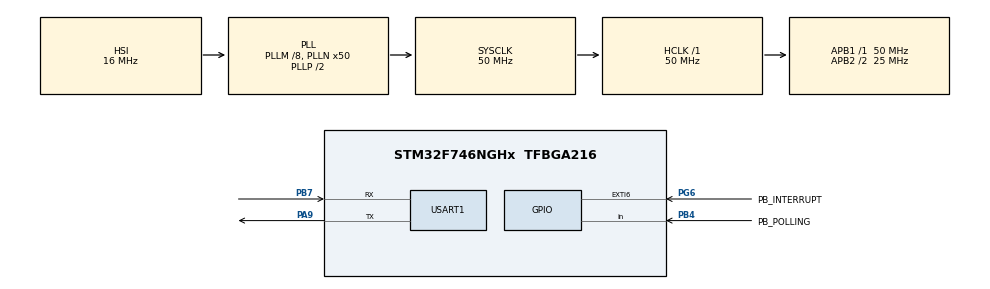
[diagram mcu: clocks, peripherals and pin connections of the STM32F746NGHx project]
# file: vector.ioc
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FREERTOS.Tasks01=defaultTask,0,128,StartDefaultTask,Default,NULL,Dynamic,NULL,NULL;print,-3,128,startPrint,Default,NULL,Dynamic,NULL,NULL;init,3,128,startInit,Default,NULL,Dynamic,NULL,NULL;button,0,128,startButton,Default,NULL,Dynamic,NULL,NULL
Mcu.Family=STM32F7
Mcu.Name=STM32F746NGHx
Mcu.Package=TFBGA216
NVIC.EXTI9_5_IRQn=true\:6\:0\:true\:false\:true\:true\:true\:true
NVIC.PriorityGroup=NVIC_PRIORITYGROUP_4
NVIC.TIM8_TRG_COM_TIM14_IRQn=true\:0\:0\:false\:false\:true\:false\:false\:true
NVIC.TimeBase=TIM8_TRG_COM_TIM14_IRQn
NVIC.TimeBaseIP=TIM14
PA13.Mode=Serial_Wire
PA13.Signal=SYS_JTMS-SWDIO
PA14.Mode=Serial_Wire
PA14.Signal=SYS_JTCK-SWCLK
PA9.Mode=Asynchronous
PA9.Signal=USART1_TX
PB4.GPIO_Label=PB_POLLING
PB4.Signal=GPIO_Input
PB7.Mode=Asynchronous
PB7.Signal=USART1_RX
PC14/OSC32_IN.Mode=LSE-External-Clock-Source
PC14/OSC32_IN.Signal=RCC_OSC32_IN
PC15/OSC32_OUT.Mode=LSE-External-Clock-Source
PC15/OSC32_OUT.Signal=RCC_OSC32_OUT
PG6.GPIO_Label=PB_INTERRUPT
PG6.Signal=GPXTI6
PH0/OSC_IN.Mode=HSE-External-Oscillator
PH0/OSC_IN.Signal=RCC_OSC_IN
PH1/OSC_OUT.Mode=HSE-External-Oscillator
PH1/OSC_OUT.Signal=RCC_OSC_OUT
ProjectManager.HeapSize=0x200
ProjectManager.StackSize=0x400
ProjectManager.TargetToolchain=STM32CubeIDE
RCC.AHBFreq_Value=50000000
RCC.APB1Freq_Value=50000000
RCC.APB1TimFreq_Value=50000000
RCC.APB2CLKDivider=RCC_HCLK_DIV2
RCC.APB2Freq_Value=25000000
RCC.APB2TimFreq_Value=50000000
RCC.CortexFreq_Value=50000000
RCC.HCLKFreq_Value=50000000
RCC.HSE_VALUE=25000000
RCC.HSI_VALUE=16000000
RCC.LSE_VALUE=32768
RCC.PLLM=8
RCC.PLLN=50
RCC.PLLQ=3
RCC.PLLSourceVirtual=RCC_PLLSOURCE_HSI
RCC.SYSCLKFreq_VALUE=50000000
RCC.SYSCLKSource=RCC_SYSCLKSOURCE_PLLCLK
RCC.USBFreq_Value=33333333.333333332
RCC.VCOOutputFreq_Value=100000000
USART1.VirtualMode-Asynchronous=VM_ASYNC
VP_FREERTOS_VS_CMSIS_V1.Mode=CMSIS_V1
VP_RNG_VS_RNG.Mode=RNG_Activate
VP_SYS_VS_tim14.Mode=TIM14
board=STM32F746G-DISCO

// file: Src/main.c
/* USER CODE BEGIN Header */
/**
  ******************************************************************************
  * @file           : main.c
  * @brief          : Main program body
  ******************************************************************************
  * @attention
  *
  * <h2><center>&copy; Copyright (c) 2019 STMicroelectronics.
  * All rights reserved.</center></h2>
  *
  * This software component is licensed by ST under BSD 3-Clause license,
  * the "License"; You may not use this file except in compliance with the
  * License. You may obtain a copy of the License at:
  *                        opensource.org/licenses/BSD-3-Clause
  *
  ******************************************************************************
  */
/* USER CODE END Header */

#include "main.h"
#include "cmsis_os.h"
#include "rng.h"
#include "usart.h"
#include "gpio.h"

/* USER CODE BEGIN Includes */
#include "vector.h"
/* USER CODE END Includes */

void SystemClock_Config(void);
void MX_FREERTOS_Init(void);

int main(void)
{

  /* MCU Configuration--------------------------------------------------------*/

  /* Reset of all peripherals, Initializes the Flash interface and the Systick. */
  HAL_Init();

  /* Configure the system clock */
  SystemClock_Config();

  /* Initialize all configured peripherals */
  MX_GPIO_Init();
  MX_RNG_Init();
  MX_USART1_UART_Init();

  /* Call init function for freertos objects (in freertos.c) */
  MX_FREERTOS_Init();

  /* Start scheduler */
  osKernelStart();

  /* We should never get here as control is now taken by the scheduler */

  /* Infinite loop */
  while (1)
  {

  }
}

void SystemClock_Config(void)
{
  RCC_OscInitTypeDef RCC_OscInitStruct = {0};
  RCC_ClkInitTypeDef RCC_ClkInitStruct = {0};
  RCC_PeriphCLKInitTypeDef PeriphClkInitStruct = {0};

  /** Configure the main internal regulator output voltage
  */
  __HAL_RCC_PWR_CLK_ENABLE();
  __HAL_PWR_VOLTAGESCALING_CONFIG(PWR_REGULATOR_VOLTAGE_SCALE3);
  /** Initializes the CPU, AHB and APB busses clocks
  */
  RCC_OscInitStruct.OscillatorType = RCC_OSCILLATORTYPE_HSI;
  RCC_OscInitStruct.HSIState = RCC_HSI_ON;
  RCC_OscInitStruct.HSICalibrationValue = RCC_HSICALIBRATION_DEFAULT;
  RCC_OscInitStruct.PLL.PLLState = RCC_PLL_ON;
  RCC_OscInitStruct.PLL.PLLSource = RCC_PLLSOURCE_HSI;
  RCC_OscInitStruct.PLL.PLLM = 8;
  RCC_OscInitStruct.PLL.PLLN = 50;
  RCC_OscInitStruct.PLL.PLLP = RCC_PLLP_DIV2;
  RCC_OscInitStruct.PLL.PLLQ = 3;
  if (HAL_RCC_OscConfig(&RCC_OscInitStruct) != HAL_OK)
  {
    Error_Handler();
  }
  /** Activate the Over-Drive mode
  */
  if (HAL_PWREx_EnableOverDrive() != HAL_OK)
  {
    Error_Handler();
  }
  /** Initializes the CPU, AHB and APB busses clocks
  */
  RCC_ClkInitStruct.ClockType = RCC_CLOCKTYPE_HCLK|RCC_CLOCKTYPE_SYSCLK
                              |RCC_CLOCKTYPE_PCLK1|RCC_CLOCKTYPE_PCLK2;
  RCC_ClkInitStruct.SYSCLKSource = RCC_SYSCLKSOURCE_PLLCLK;
  RCC_ClkInitStruct.AHBCLKDivider = RCC_SYSCLK_DIV1;
  RCC_ClkInitStruct.APB1CLKDivider = RCC_HCLK_DIV1;
  RCC_ClkInitStruct.APB2CLKDivider = RCC_HCLK_DIV2;

  if (HAL_RCC_ClockConfig(&RCC_ClkInitStruct, FLASH_LATENCY_1) != HAL_OK)
  {
    Error_Handler();
  }
  PeriphClkInitStruct.PeriphClockSelection = RCC_PERIPHCLK_USART1|RCC_PERIPHCLK_CLK48;
  PeriphClkInitStruct.Usart1ClockSelection = RCC_USART1CLKSOURCE_PCLK2;
  PeriphClkInitStruct.Clk48ClockSelection = RCC_CLK48SOURCE_PLL;
  if (HAL_RCCEx_PeriphCLKConfig(&PeriphClkInitStruct) != HAL_OK)
  {
    Error_Handler();
  }
}

void HAL_TIM_PeriodElapsedCallback(TIM_HandleTypeDef *htim)
{
  if (htim->Instance == TIM14) {
    HAL_IncTick();
  }
}

void Error_Handler(void)
{
}

/************************ (C) COPYRIGHT STMicroelectronics *****END OF FILE****/

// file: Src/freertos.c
/* USER CODE BEGIN Header */
/**
  ******************************************************************************
  * File Name          : freertos.c
  * Description        : Code for freertos applications
  ******************************************************************************
  * @attention
  *
  * <h2><center>&copy; Copyright (c) 2019 STMicroelectronics.
  * All rights reserved.</center></h2>
  *
  * This software component is licensed by ST under Ultimate Liberty license
  * SLA0044, the "License"; You may not use this file except in compliance with
  * the License. You may obtain a copy of the License at:
  *                             www.st.com/SLA0044
  *
  ******************************************************************************
  */
/* USER CODE END Header */

#include "FreeRTOS.h"
#include "task.h"
#include "main.h"
#include "cmsis_os.h"

/* USER CODE BEGIN Includes */
#include "declare.h"
#include "vector.h"
#include <usart.h>
#include "rng.h"
/* USER CODE END Includes */

osThreadId defaultTaskHandle;
osThreadId printHandle;
osThreadId initHandle;
osThreadId buttonHandle;

void StartDefaultTask(void const * argument);
void startPrint(void const * argument);
void startInit(void const * argument);
void startButton(void const * argument);

void MX_FREERTOS_Init(void); /* (MISRA C 2004 rule 8.1) */

void MX_FREERTOS_Init(void) {

  /* Create the thread(s) */
  /* definition and creation of defaultTask */
  osThreadDef(defaultTask, StartDefaultTask, osPriorityNormal, 0, 128);
  defaultTaskHandle = osThreadCreate(osThread(defaultTask), NULL);

  /* definition and creation of print */
  osThreadDef(print, startPrint, osPriorityIdle, 0, 128);
  printHandle = osThreadCreate(osThread(print), NULL);

  /* definition and creation of init */
  osThreadDef(init, startInit, osPriorityRealtime, 0, 128);
  initHandle = osThreadCreate(osThread(init), NULL);

  /* definition and creation of button */
  osThreadDef(button, startButton, osPriorityNormal, 0, 128);
  buttonHandle = osThreadCreate(osThread(button), NULL);

}

void StartDefaultTask(void const * argument)
{

  for(;;)
  {
    osDelay(1);
  }
}

void startPrint(void const * argument)
{
  /* USER CODE BEGIN startPrint */
  /* Infinite loop */
  for(;;)
  {
	for (int i = 0; i < vector_size(vector); ++i){
	  HAL_UART_Transmit(&huart1, (vector->begin)[i], 5, 1000);
	}
	osDelay(1000);
  }
  /* USER CODE END startPrint */
}

void startInit(void const * argument)
{
  /* USER CODE BEGIN startInit */
  /* Infinite loop */
  for(;;)
  {
	vector_init(&vector);
    osSignalWait(1, osWaitForever);
  }
  /* USER CODE END startInit */
}

void startButton(void const * argument)
{
  /* USER CODE BEGIN startButton */
  /* Infinite loop */
  for(;;)
  {
	uint32_t random_number;
	osSignalWait(1, osWaitForever);
	uint32_t button_push_start_time = HAL_GetTick();
	while(HAL_GPIO_ReadPin(PB_POLLING_GPIO_Port, PB_POLLING_Pin)){
	  uint32_t time_difference = HAL_GetTick() - button_push_start_time;
	  if(time_difference > 1000){
		HAL_RNG_GenerateRandomNumber(&hrng, &random_number);
		vector_push_back(vector, random_number);
		button_push_start_time = HAL_GetTick();
	  }
	}
  }
  /* USER CODE END startButton */
}

/************************ (C) COPYRIGHT STMicroelectronics *****END OF FILE****/
